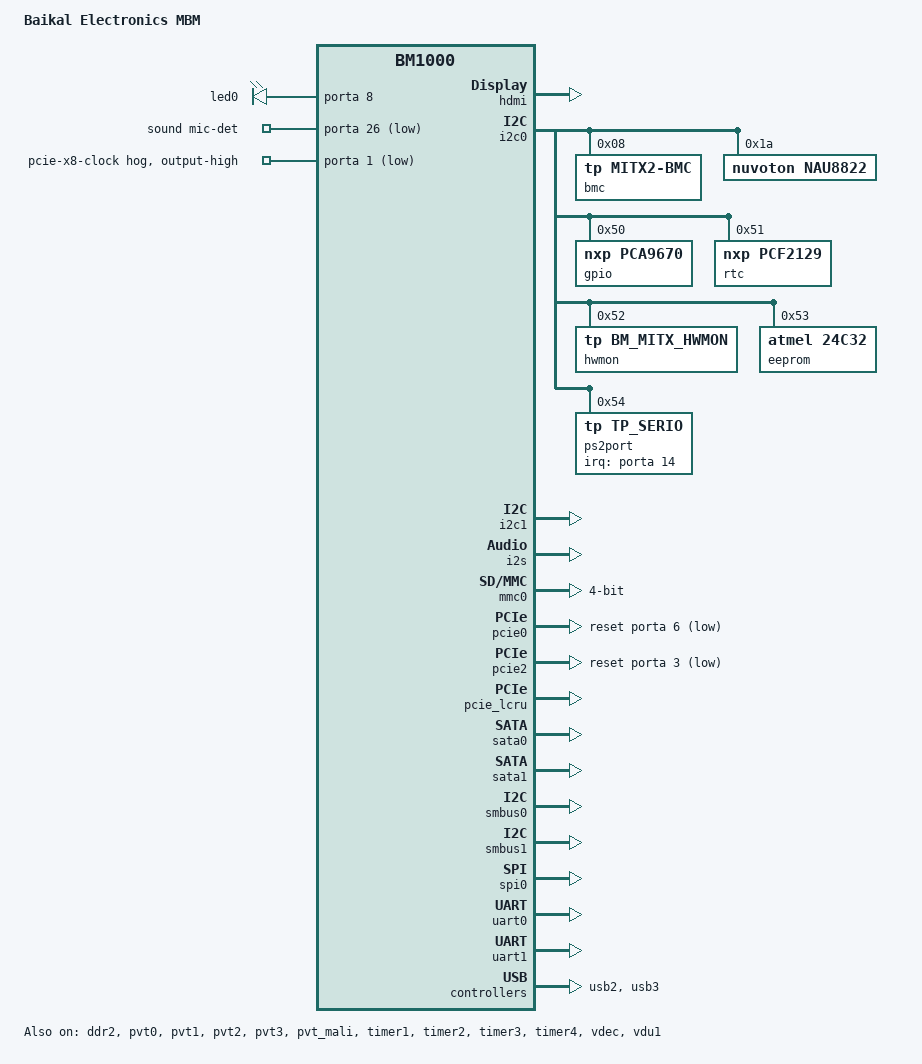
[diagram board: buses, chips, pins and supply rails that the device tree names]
// SPDX-License-Identifier: GPL-2.0
/*
 * Device tree include file for MBM-compatible boards
 * Copyright (C) 2021 Baikal Electronics, JSC
 */

#include "bm1000.dtsi"

/ {
	model = "Baikal Electronics MBM";
	compatible = "baikal,baikal-m";
	#address-cells = <2>;
	#size-cells = <2>;

	chosen { };

	leds {
		compatible = "gpio-leds";
		led0 {
			gpios = <&porta 8 GPIO_ACTIVE_HIGH>;
			default-state = "keep";
		};
	};

	sound {
		compatible = "simple-audio-card";
		simple-audio-card,name = "MITX-Sound-Card";
		simple-audio-card,bitclock-master = <&codec0>;
		simple-audio-card,frame-master = <&codec0>;
		simple-audio-card,widgets =
			"Microphone", "Mic Jack",
			"Headphone", "Headphones",
			"Speaker", "AUX Out",
			"Line", "Line In";
		simple-audio-card,routing =
			"Headphones", "RHP",
			"Headphones", "LHP",
			"AUX Out", "AUXOUT1",
			"AUX Out", "AUXOUT2",
			"L2", "Mic Jack",
			"R2", "Mic Jack",
			"LAUX", "Line In",
			"RAUX", "Line In";
		simple-audio-card,mic-det-gpio = <&porta 26 GPIO_ACTIVE_LOW>;
		simple-audio-card,format = "i2s";
		simple-audio-card,cpu {
			sound-dai = <&i2s>;
		};
		codec0: simple-audio-card,codec {
			sound-dai = <&nau8822 0>;
		};
	};
};

&ddr2 {
	status = "okay";
};

&gpio {
	status = "okay";
};

&gpu {
	system-coherency = <0>;
};

&hdmi {
	status = "okay";
};

&i2c0 {
	status = "okay";

	bmc@8 {
		compatible = "tp,mitx2-bmc", "t-platforms,mitx2-bmc";
		reg = <0x08>;
	};

	nau8822: nau8822@1a {
		compatible = "nuvoton,nau8822";
		#sound-dai-cells = <1>;
		reg = <0x1a>;
	};

	gpio@50 {
		compatible = "nxp,pca9670";
		#gpio-cells = <2>;
		gpio-controller;
		reg = <0x50>;
	};

	rtc@51 {
		compatible = "nxp,pcf2129", "nxp,pcf2127";
		reg = <0x51>;
	};

	hwmon@52 {
		compatible = "tp,bm_mitx_hwmon";
		reg = <0x52>;
	};

	eeprom@53 {
		compatible = "atmel,24c32";
		pagesize = <32>;
		reg = <0x53>;
	};

	ps2port@54 {
		compatible = "tp,tp_serio";
		reg = <0x54>;
		interrupt-parent = <&porta>;
		interrupts = <14 8>;
	};
};

&i2c1 {
	status = "okay";
};

&i2s {
	status = "okay";
	system-clock-frequency = <12000000>;
	#sound-dai-cells = <0>;
};

&mmc0 {
	status = "okay";
	disable-wp;
	bus-width = <4>;
	max-clock = <25000000>;
};

&pcie0 {
	status = "okay";
	reset-gpios = <&porta 6 GPIO_ACTIVE_LOW>;
};

&pcie2 {
	status = "okay";
	reset-gpios = <&porta 3 GPIO_ACTIVE_LOW>;
};

&pcie_lcru {
	status = "okay";
};

&porta {
	pcieclk {
		gpio-hog;
		gpios = <1 GPIO_ACTIVE_LOW>;
		output-high;
		line-name = "pcie-x8-clock";
	};
};

&pvt0 {
	status = "okay";
};

&pvt1 {
	status = "okay";
};

&pvt2 {
	status = "okay";
};

&pvt3 {
	status = "okay";
};

&pvt_mali {
	status = "okay";
};

&sata0 {
	status = "okay";
};

&sata1 {
	status = "okay";
};

&smbus0 {
	status = "okay";
};

&smbus1 {
	status = "okay";
};

&spi0 {
	num-cs = <4>;
	cs-gpios = <0>;
	status = "okay";
};

&timer1 {
	status = "okay";
};

&timer2 {
	status = "okay";
};

&timer3 {
	status = "okay";
};

&timer4 {
	status = "okay";
};

&uart0 {
	status = "okay";
};

&uart1 {
	status = "okay";
};

&usb2 {
	status = "okay";
};

&usb3 {
	status = "okay";
};

&vdec {
	status = "okay";
};

&vdu1 {
	status = "okay";
};
